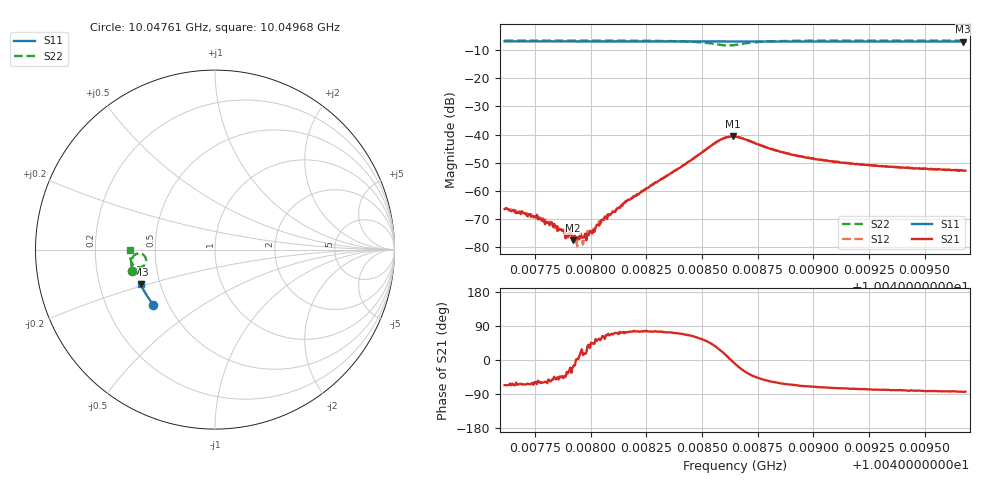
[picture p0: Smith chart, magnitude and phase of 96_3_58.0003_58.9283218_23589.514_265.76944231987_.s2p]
#  HZ  S  RI  R  50.00
! Rohde & Schwarz Vector Network Analyzer
! Rohde-Schwarz,ZNB20-2Port,1311601062101988,3.16
! Created: UTC 3/21/2024, 12:54:37 AM
! freq[Hz]  re:S11  im:S11  re:S21  im:S21  re:S12  im:S12  re:S22  im:S22
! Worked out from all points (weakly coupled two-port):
!   401 points, 10.04761 GHz to 10.04968 GHz, reference 50 ohm
!   highest |S21| = -40.70 dB at 10.04864 GHz (marker M1); lowest = -77.8 dB at 10.04792 GHz (marker M2)
!   lowest |S11| = -6.8 dB at 10.04967 GHz (marker M3), VSWR 2.68, Z = 19.4 - j9.38 ohm
!   |S11| at or under -10 dB: nowhere
!   |S22| runs from -8.2 to -6.4 dB; largest |S21 - S12| = 0.00064
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1.0047614e10  -0.3433 -0.3063  0.000187 -0.000428  0.00022 -0.000439  -0.4615 -0.1201
1.0047748e10  -0.3487 -0.2994  0.00018 -0.000292  0.000165 -0.000302  -0.4635 -0.1102
1.0047795e10  -0.3507 -0.297  0.000137 -0.00021  0.000147 -0.000257  -0.4642 -0.1065
1.0047836e10  -0.3526 -0.2946  0.000183 -0.000177  0.000166 -0.000139  -0.4646 -0.1033
1.0047888e10  -0.3546 -0.292  0.000101 -9.73e-05  0.000145 -8.59e-05  -0.4652 -0.0992
1.0047919e10  -0.3559 -0.2904  0.000121 -4.43e-05  0.000154 -2.38e-05  -0.4655 -0.0968
1.0047935e10  -0.3565 -0.2894  0.00014 2.41e-06  0.000143 -6.85e-06  -0.4656 -0.0955
1.004796e10  -0.3575 -0.2882  0.000127 6.84e-05  0.000137 1.63e-05  -0.4659 -0.0935
1.0047971e10  -0.3581 -0.2876  0.000144 4.49e-05  0.000131 5.49e-05  -0.4661 -0.0925
1.0047991e10  -0.3588 -0.2865  0.000123 0.000103  0.000145 0.000106  -0.4661 -0.0907
1.0048012e10  -0.3596 -0.2854  0.000141 0.000139  0.000152 0.000137  -0.4663 -0.0889
1.0048059e10  -0.3614 -0.283  0.000138 0.000262  0.000148 0.00026  -0.4667 -0.0848
1.0048136e10  -0.3645 -0.2788  0.000165 0.00051  0.000127 0.000509  -0.4668 -0.0774
1.0048307e10  -0.371 -0.2695  0.000398 0.00145  0.000328 0.00147  -0.4647 -0.0576
1.0048571e10  -0.3801 -0.2544  0.00647 0.00394  0.00622 0.0043  -0.4043 -0.0256
1.0048638e10  -0.3819 -0.251  0.0092 -0.000729  0.00928 -0.000119  -0.3851 -0.0701
1.0048649e10  -0.3823 -0.2506  0.00901 -0.00158  0.00915 -0.000953  -0.3881 -0.0775
1.004884e10  -0.3895 -0.2401  0.00256 -0.00444  0.00284 -0.00429  -0.4563 -0.0834
1.0048995e10  -0.3947 -0.2312  0.00126 -0.00349  0.00145 -0.00347  -0.468 -0.0625
1.0049342e10  -0.4053 -0.2108  0.000502 -0.00262  0.00067 -0.00259  -0.4743 -0.0299
1.0049673e10  -0.4144 -0.191  0.000244 -0.00227  0.000395 -0.00226  -0.4756 -0.00451
1.0049683e10  -0.4148 -0.1902  0.000255 -0.00225  0.000389 -0.00226  -0.4757 -0.00386
